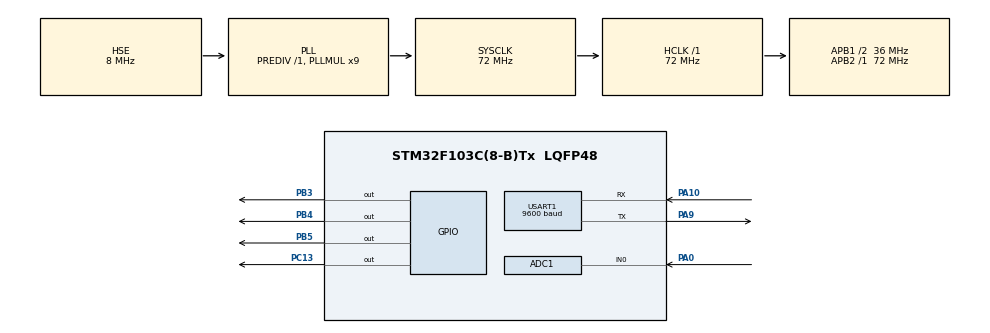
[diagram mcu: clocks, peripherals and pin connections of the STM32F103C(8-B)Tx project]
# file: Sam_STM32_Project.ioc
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ADC1.Channel-0\#ChannelRegularConversion=ADC_CHANNEL_0
ADC1.ContinuousConvMode=ENABLE
ADC1.NbrOfConversionFlag=1
ADC1.Rank-0\#ChannelRegularConversion=1
ADC1.SamplingTime-0\#ChannelRegularConversion=ADC_SAMPLETIME_1CYCLE_5
ADC1.master=1
Mcu.Family=STM32F1
Mcu.Name=STM32F103C(8-B)Tx
Mcu.Package=LQFP48
NVIC.PriorityGroup=NVIC_PRIORITYGROUP_4
NVIC.USART1_IRQn=true\:0\:0\:false\:false\:true\:true\:true\:true
PA0-WKUP.Signal=ADCx_IN0
PA10.Mode=Asynchronous
PA10.Signal=USART1_RX
PA13.Mode=Serial_Wire
PA13.Signal=SYS_JTMS-SWDIO
PA14.Mode=Serial_Wire
PA14.Signal=SYS_JTCK-SWCLK
PA9.Mode=Asynchronous
PA9.Signal=USART1_TX
PB3.Signal=GPIO_Output
PB4.Signal=GPIO_Output
PB5.Signal=GPIO_Output
PC13-TAMPER-RTC.Signal=GPIO_Output
PD0-OSC_IN.Mode=HSE-External-Oscillator
PD0-OSC_IN.Signal=RCC_OSC_IN
PD1-OSC_OUT.Mode=HSE-External-Oscillator
PD1-OSC_OUT.Signal=RCC_OSC_OUT
ProjectManager.HeapSize=0x200
ProjectManager.StackSize=0x400
ProjectManager.TargetToolchain=CMake
RCC.ADCPresc=RCC_ADCPCLK2_DIV6
RCC.AHBFreq_Value=72000000
RCC.APB1CLKDivider=RCC_HCLK_DIV2
RCC.APB1Freq_Value=36000000
RCC.APB1TimFreq_Value=72000000
RCC.APB2Freq_Value=72000000
RCC.APB2TimFreq_Value=72000000
RCC.HCLKFreq_Value=72000000
RCC.PLLMUL=RCC_PLL_MUL9
RCC.PLLSourceVirtual=RCC_PLLSOURCE_HSE
RCC.SYSCLKFreq_VALUE=72000000
RCC.SYSCLKSource=RCC_SYSCLKSOURCE_PLLCLK
RCC.USBFreq_Value=72000000
SH.ADCx_IN0.0=ADC1_IN0,IN0
USART1.BaudRate=9600
USART1.VirtualMode=VM_ASYNC
board=custom

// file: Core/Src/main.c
/* USER CODE BEGIN Header */
/**
  ******************************************************************************
  * @file           : main.c
  * @brief          : Main program body
  ******************************************************************************
  * @attention
  *
  * Copyright (c) 2025 STMicroelectronics.
  * All rights reserved.
  *
  * This software is licensed under terms that can be found in the LICENSE file
  * in the root directory of this software component.
  * If no LICENSE file comes with this software, it is provided AS-IS.
  *
  ******************************************************************************
  */
/* USER CODE END Header */
#include "main.h"
#include <string.h>

/* USER CODE BEGIN PD */
#define ADC_N 6
/* USER CODE END PD */

ADC_HandleTypeDef hadc1;

UART_HandleTypeDef huart1;

void SystemClock_Config(void);
static void MX_GPIO_Init(void);
static void MX_ADC1_Init(void);
static void MX_USART1_UART_Init(void);
/* USER CODE BEGIN PFP */
uint8_t RX1_Char = 0x00;
/* USER CODE END PFP */

/* USER CODE BEGIN 0 */
uint32_t data;
uint32_t distance;
float voltageReq;
float voltage;

/* USER CODE END 0 */

int main(void)
{

  /* MCU Configuration--------------------------------------------------------*/

  /* Reset of all peripherals, Initializes the Flash interface and the Systick. */
  HAL_Init();

  /* Configure the system clock */
  SystemClock_Config();

  /* Initialize all configured peripherals */
  MX_GPIO_Init();
  MX_ADC1_Init();
  MX_USART1_UART_Init();
  /* USER CODE BEGIN 2 */
  // & gives the address of the variable in memory
  HAL_ADC_Start(&hadc1);
  //HAL_ADC_Start_IT(&hadc1);
  /* USER CODE END 2 */

  /* Infinite loop */
  /* USER CODE BEGIN WHILE */
  while (1)
  {

    // Read all 6 conversions (in the rank order)
    for (int i = 0; i < ADC_N; i++) {
      HAL_ADC_PollForConversion(&hadc1, HAL_MAX_DELAY);
      adc_raw[i] = HAL_ADC_GetValue(&hadc1);
    }

    // Errors: positive means "closer to RIGHT sensor's wall/target"
    err_front = (int32_t)adc_raw[FRONT_R] - (int32_t)adc_raw[FRONT_L];
    err_30 = (int32_t)adc_raw[S30_R] - (int32_t)adc_raw[S30_L];
    err_45 = (int32_t)adc_raw[S45_R] - (int32_t)adc_raw[S45_L];

    char msg[128];
    snprintf(msg, sizeof(msg),
            "F_L=%lu,F_R=%lu,30_L=%lu,30_R=%lu,45_L=%lu,45_R=%lu | eF=%ld,e30=%ld,e45=%ld\r\n",
            adc_raw[FRONT_L], adc_raw[FRONT_R],
            adc_raw[S30_L],   adc_raw[S30_R],
            adc_raw[S45_L],   adc_raw[S45_R],
            err_front, err_30, err_45);

    HAL_UART_Transmit(&huart1, (uint8_t*)msg, strlen(msg), HAL_MAX_DELAY);

    /* USER CODE END WHILE */

  }
}

void SystemClock_Config(void)
{
  RCC_OscInitTypeDef RCC_OscInitStruct = {0};
  RCC_ClkInitTypeDef RCC_ClkInitStruct = {0};
  RCC_PeriphCLKInitTypeDef PeriphClkInit = {0};

  /** Initializes the RCC Oscillators according to the specified parameters
  * in the RCC_OscInitTypeDef structure.
  */
  RCC_OscInitStruct.OscillatorType = RCC_OSCILLATORTYPE_HSE;
  RCC_OscInitStruct.HSEState = RCC_HSE_ON;
  RCC_OscInitStruct.HSEPredivValue = RCC_HSE_PREDIV_DIV1;
  RCC_OscInitStruct.HSIState = RCC_HSI_ON;
  RCC_OscInitStruct.PLL.PLLState = RCC_PLL_ON;
  RCC_OscInitStruct.PLL.PLLSource = RCC_PLLSOURCE_HSE;
  RCC_OscInitStruct.PLL.PLLMUL = RCC_PLL_MUL9;
  if (HAL_RCC_OscConfig(&RCC_OscInitStruct) != HAL_OK)
  {
    Error_Handler();
  }

  /** Initializes the CPU, AHB and APB buses clocks
  */
  RCC_ClkInitStruct.ClockType = RCC_CLOCKTYPE_HCLK|RCC_CLOCKTYPE_SYSCLK
                              |RCC_CLOCKTYPE_PCLK1|RCC_CLOCKTYPE_PCLK2;
  RCC_ClkInitStruct.SYSCLKSource = RCC_SYSCLKSOURCE_PLLCLK;
  RCC_ClkInitStruct.AHBCLKDivider = RCC_SYSCLK_DIV1;
  RCC_ClkInitStruct.APB1CLKDivider = RCC_HCLK_DIV2;
  RCC_ClkInitStruct.APB2CLKDivider = RCC_HCLK_DIV1;

  if (HAL_RCC_ClockConfig(&RCC_ClkInitStruct, FLASH_LATENCY_2) != HAL_OK)
  {
    Error_Handler();
  }
  PeriphClkInit.PeriphClockSelection = RCC_PERIPHCLK_ADC;
  PeriphClkInit.AdcClockSelection = RCC_ADCPCLK2_DIV6;
  if (HAL_RCCEx_PeriphCLKConfig(&PeriphClkInit) != HAL_OK)
  {
    Error_Handler();
  }
}

static void MX_ADC1_Init(void)
{

  ADC_ChannelConfTypeDef sConfig = {0};

  /** Common config
  */
  hadc1.Instance = ADC1;
  hadc1.Init.ScanConvMode = ADC_SCAN_DISABLE;
  hadc1.Init.ContinuousConvMode = ENABLE;
  hadc1.Init.DiscontinuousConvMode = DISABLE;
  hadc1.Init.ExternalTrigConv = ADC_SOFTWARE_START;
  hadc1.Init.DataAlign = ADC_DATAALIGN_RIGHT;
  hadc1.Init.NbrOfConversion = 1;
  if (HAL_ADC_Init(&hadc1) != HAL_OK)
  {
    Error_Handler();
  }

  /** Configure Regular Channel
  */
  sConfig.Channel = ADC_CHANNEL_0;
  sConfig.Rank = ADC_REGULAR_RANK_1;
  sConfig.SamplingTime = ADC_SAMPLETIME_1CYCLE_5;
  if (HAL_ADC_ConfigChannel(&hadc1, &sConfig) != HAL_OK)
  {
    Error_Handler();
  }

}

static void MX_USART1_UART_Init(void)
{

  huart1.Instance = USART1;
  huart1.Init.BaudRate = 9600;
  huart1.Init.WordLength = UART_WORDLENGTH_8B;
  huart1.Init.StopBits = UART_STOPBITS_1;
  huart1.Init.Parity = UART_PARITY_NONE;
  huart1.Init.Mode = UART_MODE_TX_RX;
  huart1.Init.HwFlowCtl = UART_HWCONTROL_NONE;
  huart1.Init.OverSampling = UART_OVERSAMPLING_16;
  if (HAL_UART_Init(&huart1) != HAL_OK)
  {
    Error_Handler();
  }

}

static void MX_GPIO_Init(void)
{
  GPIO_InitTypeDef GPIO_InitStruct = {0};

  /* GPIO Ports Clock Enable */
  __HAL_RCC_GPIOC_CLK_ENABLE();
  __HAL_RCC_GPIOD_CLK_ENABLE();
  __HAL_RCC_GPIOA_CLK_ENABLE();
  __HAL_RCC_GPIOB_CLK_ENABLE();

  /*Configure GPIO pin Output Level */
  HAL_GPIO_WritePin(GPIOC, GPIO_PIN_13, GPIO_PIN_RESET);

  /*Configure GPIO pin Output Level */
  HAL_GPIO_WritePin(GPIOB, GPIO_PIN_3|GPIO_PIN_4|GPIO_PIN_5, GPIO_PIN_RESET);

  /*Configure GPIO pin : PC13 */
  GPIO_InitStruct.Pin = GPIO_PIN_13;
  GPIO_InitStruct.Mode = GPIO_MODE_OUTPUT_PP;
  GPIO_InitStruct.Pull = GPIO_NOPULL;
  GPIO_InitStruct.Speed = GPIO_SPEED_FREQ_LOW;
  HAL_GPIO_Init(GPIOC, &GPIO_InitStruct);

  /*Configure GPIO pins : PB3 PB4 PB5 */
  GPIO_InitStruct.Pin = GPIO_PIN_3|GPIO_PIN_4|GPIO_PIN_5;
  GPIO_InitStruct.Mode = GPIO_MODE_OUTPUT_PP;
  GPIO_InitStruct.Pull = GPIO_NOPULL;
  GPIO_InitStruct.Speed = GPIO_SPEED_FREQ_LOW;
  HAL_GPIO_Init(GPIOB, &GPIO_InitStruct);

}

void Error_Handler(void)
{
  __disable_irq();
  while (1)
  {
  }
}
